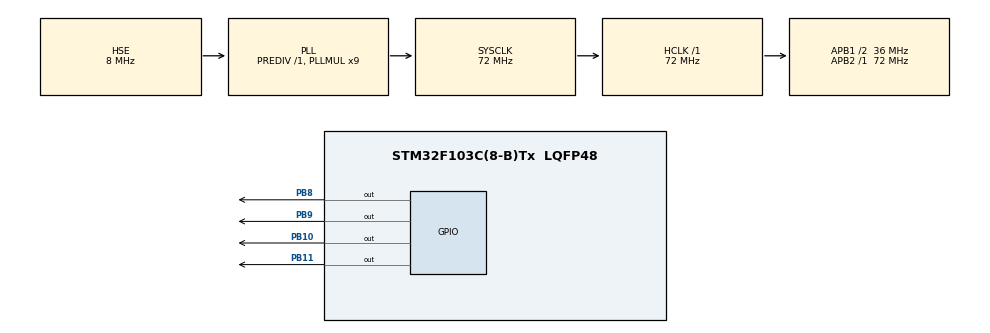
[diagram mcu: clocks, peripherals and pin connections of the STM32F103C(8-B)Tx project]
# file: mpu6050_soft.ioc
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Mcu.Family=STM32F1
Mcu.Name=STM32F103C(8-B)Tx
Mcu.Package=LQFP48
NVIC.PriorityGroup=NVIC_PRIORITYGROUP_4
PA13.Mode=Serial_Wire
PA13.Signal=SYS_JTMS-SWDIO
PA14.Mode=Serial_Wire
PA14.Signal=SYS_JTCK-SWCLK
PB10.GPIO_ModeDefaultOutputPP=GPIO_MODE_OUTPUT_OD
PB10.GPIO_PuPd=GPIO_NOPULL
PB10.Signal=GPIO_Output
PB11.GPIO_ModeDefaultOutputPP=GPIO_MODE_OUTPUT_OD
PB11.GPIO_PuPd=GPIO_NOPULL
PB11.Signal=GPIO_Output
PB8.GPIO_ModeDefaultOutputPP=GPIO_MODE_OUTPUT_OD
PB8.GPIO_PuPd=GPIO_NOPULL
PB8.Signal=GPIO_Output
PB9.GPIO_ModeDefaultOutputPP=GPIO_MODE_OUTPUT_OD
PB9.GPIO_PuPd=GPIO_NOPULL
PB9.Signal=GPIO_Output
PD0-OSC_IN.Mode=HSE-External-Oscillator
PD0-OSC_IN.Signal=RCC_OSC_IN
PD1-OSC_OUT.Mode=HSE-External-Oscillator
PD1-OSC_OUT.Signal=RCC_OSC_OUT
ProjectManager.HeapSize=0x200
ProjectManager.StackSize=0x400
ProjectManager.TargetToolchain=STM32CubeIDE
RCC.AHBFreq_Value=72000000
RCC.APB1CLKDivider=RCC_HCLK_DIV2
RCC.APB1Freq_Value=36000000
RCC.APB1TimFreq_Value=72000000
RCC.APB2Freq_Value=72000000
RCC.APB2TimFreq_Value=72000000
RCC.HCLKFreq_Value=72000000
RCC.PLLMUL=RCC_PLL_MUL9
RCC.PLLSourceVirtual=RCC_PLLSOURCE_HSE
RCC.SYSCLKFreq_VALUE=72000000
RCC.SYSCLKSource=RCC_SYSCLKSOURCE_PLLCLK
RCC.USBFreq_Value=72000000
board=custom

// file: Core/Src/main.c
/* USER CODE BEGIN Header */
/**
  ******************************************************************************
  * @file           : main.c
  * @brief          : Main program body
  ******************************************************************************
  * @attention
  *
  * Copyright (c) 2026 STMicroelectronics.
  * All rights reserved.
  *
  * This software is licensed under terms that can be found in the LICENSE file
  * in the root directory of this software component.
  * If no LICENSE file comes with this software, it is provided AS-IS.
  *
  ******************************************************************************
  */
/* USER CODE END Header */
#include "main.h"
#include "gpio.h"

/* USER CODE BEGIN Includes */
#include "MyI2C.h"
#include "MPU6050.h"
/* USER CODE END Includes */

/* USER CODE BEGIN PV */
uint8_t ID;
uint16_t AX, AY, AZ, GX, GY, GZ;
/* USER CODE END PV */

void SystemClock_Config(void);

int main(void)
{

  /* MCU Configuration--------------------------------------------------------*/

  /* Reset of all peripherals, Initializes the Flash interface and the Systick. */
  HAL_Init();

  /* Configure the system clock */
  SystemClock_Config();

  /* Initialize all configured peripherals */
  MX_GPIO_Init();

  /* Infinite loop */
  /* USER CODE BEGIN WHILE */
	OLED_Init();
	MPU6050_Init();

	OLED_ShowString(1, 1, "ID:");
	ID = MPU6050_GetID();
	OLED_ShowHexNum(1, 4, ID, 2);
  while (1)
  {
	  MPU6050_GetData(&AX, &AY, &AZ, &GX, &GY, &GZ);
	  OLED_ShowSignedNum(2, 1, AX, 5);
	  OLED_ShowSignedNum(3, 1, AY, 5);
	  OLED_ShowSignedNum(4, 1, AZ, 5);
	  OLED_ShowSignedNum(2, 8, GX, 5);
	  OLED_ShowSignedNum(3, 8, GY, 5);
	  OLED_ShowSignedNum(4, 8, GZ, 5);
    /* USER CODE END WHILE */

  }
}

void SystemClock_Config(void)
{
  RCC_OscInitTypeDef RCC_OscInitStruct = {0};
  RCC_ClkInitTypeDef RCC_ClkInitStruct = {0};

  /** Initializes the RCC Oscillators according to the specified parameters
  * in the RCC_OscInitTypeDef structure.
  */
  RCC_OscInitStruct.OscillatorType = RCC_OSCILLATORTYPE_HSE;
  RCC_OscInitStruct.HSEState = RCC_HSE_ON;
  RCC_OscInitStruct.HSEPredivValue = RCC_HSE_PREDIV_DIV1;
  RCC_OscInitStruct.HSIState = RCC_HSI_ON;
  RCC_OscInitStruct.PLL.PLLState = RCC_PLL_ON;
  RCC_OscInitStruct.PLL.PLLSource = RCC_PLLSOURCE_HSE;
  RCC_OscInitStruct.PLL.PLLMUL = RCC_PLL_MUL9;
  if (HAL_RCC_OscConfig(&RCC_OscInitStruct) != HAL_OK)
  {
    Error_Handler();
  }

  /** Initializes the CPU, AHB and APB buses clocks
  */
  RCC_ClkInitStruct.ClockType = RCC_CLOCKTYPE_HCLK|RCC_CLOCKTYPE_SYSCLK
                              |RCC_CLOCKTYPE_PCLK1|RCC_CLOCKTYPE_PCLK2;
  RCC_ClkInitStruct.SYSCLKSource = RCC_SYSCLKSOURCE_PLLCLK;
  RCC_ClkInitStruct.AHBCLKDivider = RCC_SYSCLK_DIV1;
  RCC_ClkInitStruct.APB1CLKDivider = RCC_HCLK_DIV2;
  RCC_ClkInitStruct.APB2CLKDivider = RCC_HCLK_DIV1;

  if (HAL_RCC_ClockConfig(&RCC_ClkInitStruct, FLASH_LATENCY_2) != HAL_OK)
  {
    Error_Handler();
  }
}

void Error_Handler(void)
{
  __disable_irq();
  while (1)
  {
  }
}
